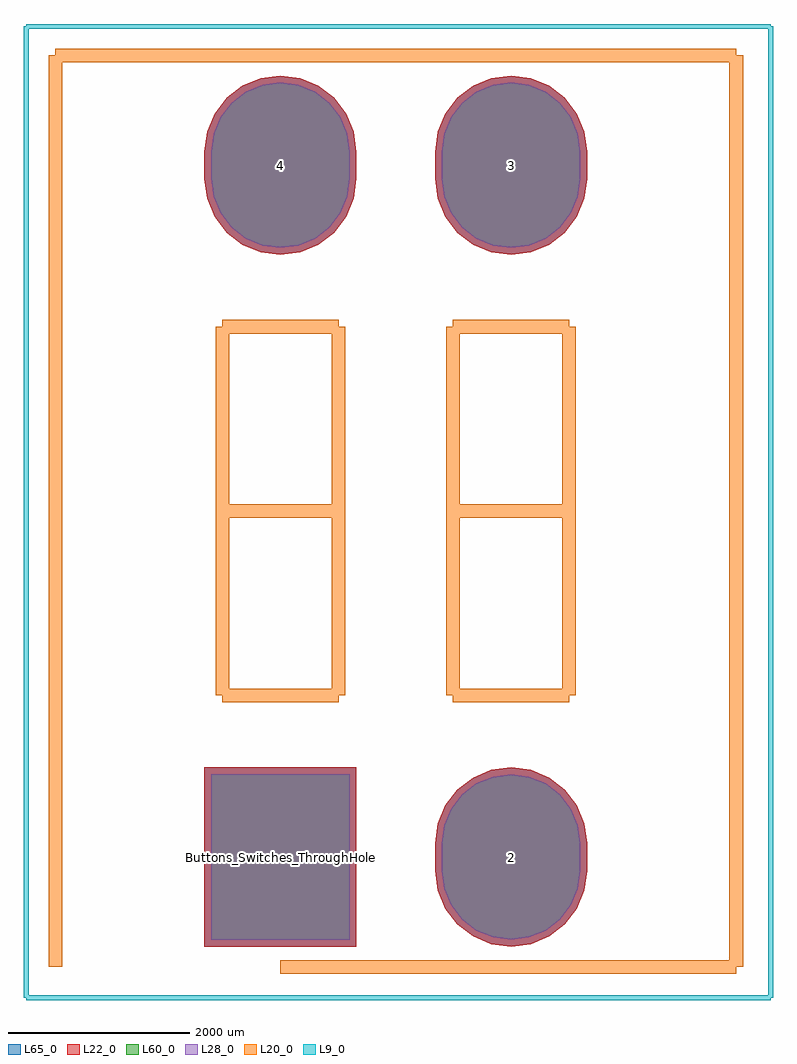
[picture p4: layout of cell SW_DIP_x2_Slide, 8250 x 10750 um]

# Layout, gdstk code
import gdstk
lib = gdstk.Library(unit=1e-6, precision=1e-09)
def R(c, l, rs):  # rectangles x0, y0, x1, y1
    for r in rs: c.add(gdstk.rectangle(r[:2], r[2:], *l))
def P(c, l, *ps):  # polygons
    for p in ps: c.add(gdstk.Polygon(p, *l))
L9_0 = (9, 0)
L20_0 = (20, 0)
L22_0 = (22, 0)
L28_0 = (28, 0)
L60_0 = (60, 0)
L65_0 = (65, 0)

sw_dip_x2_slide = lib.new_cell('SW_DIP_x2_Slide')
R(sw_dip_x2_slide, L22_0, [(-837,-987,837,987)])
P(sw_dip_x2_slide, L22_0, [(2540,6633),(2756.632,6661.52),(2958.5,6745.137),(3131.848,6878.152),(3264.863,7051.5),(3348.48,7253.368),(3377,7470),(3377,7770),(3348.48,7986.632),(3264.863,8188.5),(3131.848,8361.848),(2958.5,8494.863),(2756.632,8578.48),(2540,8607),(2323.368,8578.48),(2121.5,8494.863),(1948.152,8361.848),(1815.137,8188.5),(1731.52,7986.632),(1703,7770),(1703,7470),(1731.52,7253.368),(1815.137,7051.5),(1948.152,6878.152),(2121.5,6745.137),(2323.368,6661.52)],
  [(2540,-987),(2756.632,-958.48),(2958.5,-874.863),(3131.848,-741.848),(3264.863,-568.5),(3348.48,-366.632),(3377,-150),(3377,150),(3348.48,366.632),(3264.863,568.5),(3131.848,741.848),(2958.5,874.863),(2756.632,958.48),(2540,987),(2323.368,958.48),(2121.5,874.863),(1948.152,741.848),(1815.137,568.5),(1731.52,366.632),(1703,150),(1703,-150),(1731.52,-366.632),(1815.137,-568.5),(1948.152,-741.848),(2121.5,-874.863),(2323.368,-958.48)],
  [(0,6633),(216.632,6661.52),(418.5,6745.137),(591.848,6878.152),(724.863,7051.5),(808.48,7253.368),(837,7470),(837,7770),(808.48,7986.632),(724.863,8188.5),(591.848,8361.848),(418.5,8494.863),(216.632,8578.48),(0,8607),(-216.632,8578.48),(-418.5,8494.863),(-591.848,8361.848),(-724.863,8188.5),(-808.48,7986.632),(-837,7770),(-837,7470),(-808.48,7253.368),(-724.863,7051.5),(-591.848,6878.152),(-418.5,6745.137),(-216.632,6661.52)])
R(sw_dip_x2_slide, L28_0, [(-762,-912,762,912)])
P(sw_dip_x2_slide, L28_0, [(2540,6708),(2737.22,6733.965),(2921,6810.089),(3078.815,6931.185),(3199.911,7089),(3276.035,7272.78),(3302,7470),(3302,7770),(3276.035,7967.22),(3199.911,8151),(3078.815,8308.815),(2921,8429.911),(2737.22,8506.035),(2540,8532),(2342.78,8506.035),(2159,8429.911),(2001.185,8308.815),(1880.089,8151),(1803.965,7967.22),(1778,7770),(1778,7470),(1803.965,7272.78),(1880.089,7089),(2001.185,6931.185),(2159,6810.089),(2342.78,6733.965)],
  [(2540,-912),(2737.22,-886.035),(2921,-809.911),(3078.815,-688.815),(3199.911,-531),(3276.035,-347.22),(3302,-150),(3302,150),(3276.035,347.22),(3199.911,531),(3078.815,688.815),(2921,809.911),(2737.22,886.035),(2540,912),(2342.78,886.035),(2159,809.911),(2001.185,688.815),(1880.089,531),(1803.965,347.22),(1778,150),(1778,-150),(1803.965,-347.22),(1880.089,-531),(2001.185,-688.815),(2159,-809.911),(2342.78,-886.035)],
  [(0,6708),(197.22,6733.965),(381,6810.089),(538.815,6931.185),(659.911,7089),(736.035,7272.78),(762,7470),(762,7770),(736.035,7967.22),(659.911,8151),(538.815,8308.815),(381,8429.911),(197.22,8506.035),(0,8532),(-197.22,8506.035),(-381,8429.911),(-538.815,8308.815),(-659.911,8151),(-736.035,7967.22),(-762,7770),(-762,7470),(-736.035,7272.78),(-659.911,7089),(-538.815,6931.185),(-381,6810.089),(-197.22,6733.965)])
R(sw_dip_x2_slide, L60_0, [(-762,-912,762,912)])
P(sw_dip_x2_slide, L60_0, [(2540,6708),(2737.22,6733.965),(2921,6810.089),(3078.815,6931.185),(3199.911,7089),(3276.035,7272.78),(3302,7470),(3302,7770),(3276.035,7967.22),(3199.911,8151),(3078.815,8308.815),(2921,8429.911),(2737.22,8506.035),(2540,8532),(2342.78,8506.035),(2159,8429.911),(2001.185,8308.815),(1880.089,8151),(1803.965,7967.22),(1778,7770),(1778,7470),(1803.965,7272.78),(1880.089,7089),(2001.185,6931.185),(2159,6810.089),(2342.78,6733.965)],
  [(2540,-912),(2737.22,-886.035),(2921,-809.911),(3078.815,-688.815),(3199.911,-531),(3276.035,-347.22),(3302,-150),(3302,150),(3276.035,347.22),(3199.911,531),(3078.815,688.815),(2921,809.911),(2737.22,886.035),(2540,912),(2342.78,886.035),(2159,809.911),(2001.185,688.815),(1880.089,531),(1803.965,347.22),(1778,150),(1778,-150),(1803.965,-347.22),(1880.089,-531),(2001.185,-688.815),(2159,-809.911),(2342.78,-886.035)],
  [(0,6708),(197.22,6733.965),(381,6810.089),(538.815,6931.185),(659.911,7089),(736.035,7272.78),(762,7470),(762,7770),(736.035,7967.22),(659.911,8151),(538.815,8308.815),(381,8429.911),(197.22,8506.035),(0,8532),(-197.22,8506.035),(-381,8429.911),(-538.815,8308.815),(-659.911,8151),(-736.035,7967.22),(-762,7770),(-762,7470),(-736.035,7272.78),(-659.911,7089),(-538.815,6931.185),(-381,6810.089),(-197.22,6733.965)])
R(sw_dip_x2_slide, L65_0, [(-837,-987,837,987)])
P(sw_dip_x2_slide, L65_0, [(2540,6633),(2756.632,6661.52),(2958.5,6745.137),(3131.848,6878.152),(3264.863,7051.5),(3348.48,7253.368),(3377,7470),(3377,7770),(3348.48,7986.632),(3264.863,8188.5),(3131.848,8361.848),(2958.5,8494.863),(2756.632,8578.48),(2540,8607),(2323.368,8578.48),(2121.5,8494.863),(1948.152,8361.848),(1815.137,8188.5),(1731.52,7986.632),(1703,7770),(1703,7470),(1731.52,7253.368),(1815.137,7051.5),(1948.152,6878.152),(2121.5,6745.137),(2323.368,6661.52)],
  [(2540,-987),(2756.632,-958.48),(2958.5,-874.863),(3131.848,-741.848),(3264.863,-568.5),(3348.48,-366.632),(3377,-150),(3377,150),(3348.48,366.632),(3264.863,568.5),(3131.848,741.848),(2958.5,874.863),(2756.632,958.48),(2540,987),(2323.368,958.48),(2121.5,874.863),(1948.152,741.848),(1815.137,568.5),(1731.52,366.632),(1703,150),(1703,-150),(1731.52,-366.632),(1815.137,-568.5),(1948.152,-741.848),(2121.5,-874.863),(2323.368,-958.48)],
  [(0,6633),(216.632,6661.52),(418.5,6745.137),(591.848,6878.152),(724.863,7051.5),(808.48,7253.368),(837,7470),(837,7770),(808.48,7986.632),(724.863,8188.5),(591.848,8361.848),(418.5,8494.863),(216.632,8578.48),(0,8607),(-216.632,8578.48),(-418.5,8494.863),(-591.848,8361.848),(-724.863,8188.5),(-808.48,7986.632),(-837,7770),(-837,7470),(-808.48,7253.368),(-724.863,7051.5),(-591.848,6878.152),(-418.5,6745.137),(-216.632,6661.52)])
sw_dip_x2_slide.add(gdstk.FlexPath([(5020,-1210),(0,-1210)], 149.998, ends="flush", simple_path=True, layer=20, datatype=0))  # L20_0
sw_dip_x2_slide.add(gdstk.FlexPath([(5020,8830),(5020,-1210)], 149.998, ends="flush", simple_path=True, layer=20, datatype=0))  # L20_0
sw_dip_x2_slide.add(gdstk.FlexPath([(-2480,8830),(5020,8830)], 149.998, ends="flush", simple_path=True, layer=20, datatype=0))  # L20_0
sw_dip_x2_slide.add(gdstk.FlexPath([(-2480,-1210),(-2480,8830)], 149.998, ends="flush", simple_path=True, layer=20, datatype=0))  # L20_0
sw_dip_x2_slide.add(gdstk.FlexPath([(5400,9150),(-2800,9150)], 50, ends="flush", simple_path=True, layer=9, datatype=0))  # L9_0
sw_dip_x2_slide.add(gdstk.FlexPath([(5400,-1550),(5400,9150)], 50, ends="flush", simple_path=True, layer=9, datatype=0))  # L9_0
sw_dip_x2_slide.add(gdstk.FlexPath([(-2800,-1550),(5400,-1550)], 50, ends="flush", simple_path=True, layer=9, datatype=0))  # L9_0
sw_dip_x2_slide.add(gdstk.FlexPath([(-2800,9150),(-2800,-1550)], 50, ends="flush", simple_path=True, layer=9, datatype=0))  # L9_0
sw_dip_x2_slide.add(gdstk.FlexPath([(3180,5840),(1900,5840)], 149.998, ends="flush", simple_path=True, layer=20, datatype=0))  # L20_0
sw_dip_x2_slide.add(gdstk.FlexPath([(3180,1780),(3180,5840)], 149.998, ends="flush", simple_path=True, layer=20, datatype=0))  # L20_0
sw_dip_x2_slide.add(gdstk.FlexPath([(1900,1780),(3180,1780)], 149.998, ends="flush", simple_path=True, layer=20, datatype=0))  # L20_0
sw_dip_x2_slide.add(gdstk.FlexPath([(1900,3810),(3180,3810)], 149.998, ends="flush", simple_path=True, layer=20, datatype=0))  # L20_0
sw_dip_x2_slide.add(gdstk.FlexPath([(1900,5840),(1900,1780)], 149.998, ends="flush", simple_path=True, layer=20, datatype=0))  # L20_0
sw_dip_x2_slide.add(gdstk.FlexPath([(640,5840),(-640,5840)], 149.998, ends="flush", simple_path=True, layer=20, datatype=0))  # L20_0
sw_dip_x2_slide.add(gdstk.FlexPath([(640,1780),(640,5840)], 149.998, ends="flush", simple_path=True, layer=20, datatype=0))  # L20_0
sw_dip_x2_slide.add(gdstk.FlexPath([(-640,1780),(640,1780)], 149.998, ends="flush", simple_path=True, layer=20, datatype=0))  # L20_0
sw_dip_x2_slide.add(gdstk.FlexPath([(-640,3810),(640,3810)], 149.998, ends="flush", simple_path=True, layer=20, datatype=0))  # L20_0
sw_dip_x2_slide.add(gdstk.FlexPath([(-640,5840),(-640,1780)], 149.998, ends="flush", simple_path=True, layer=20, datatype=0))  # L20_0
sw_dip_x2_slide.add(gdstk.Label('Buttons_Switches_ThroughHole.3dshapes/SW_DIP_x2_Slide.wrl', (0,0), layer=12, texttype=0))
sw_dip_x2_slide.add(gdstk.Label('3', (2540,7620), layer=28, texttype=0))
sw_dip_x2_slide.add(gdstk.Label('2', (2540,0), layer=28, texttype=0))
sw_dip_x2_slide.add(gdstk.Label('4', (0,7620), layer=28, texttype=0))
sw_dip_x2_slide.add(gdstk.Label('1', (0,0), layer=28, texttype=0))
sw_dip_x2_slide.add(gdstk.Label('type', (2000,-2400), layer=9, texttype=0))
sw_dip_x2_slide.add(gdstk.Label('devicename', (1250,10000), layer=9, texttype=0))

lib.write_gds('SW_DIP_x2_Slide.gds')
